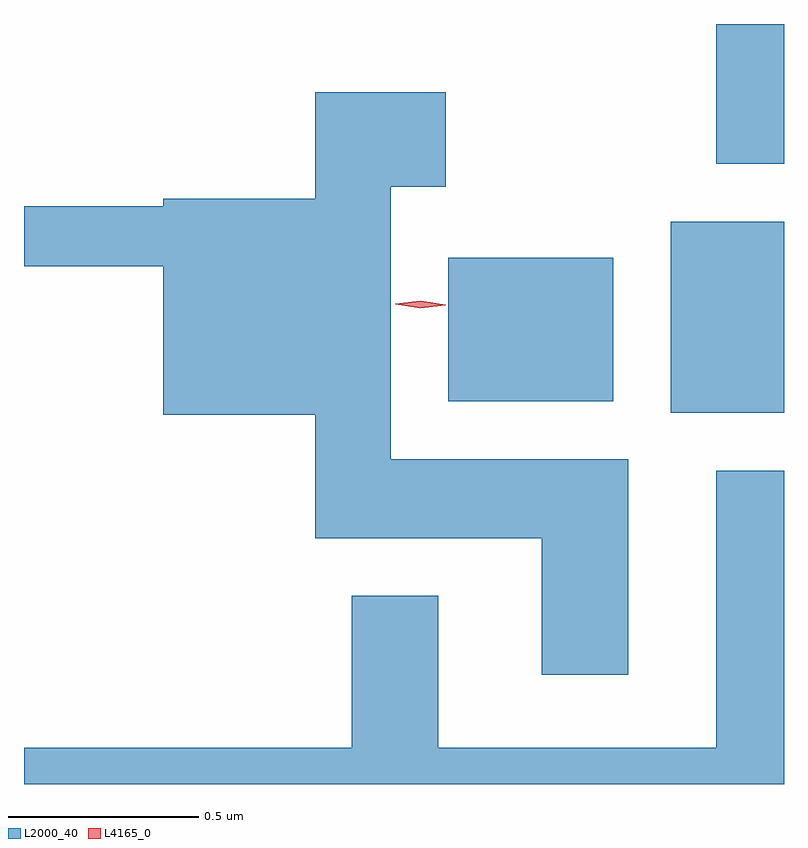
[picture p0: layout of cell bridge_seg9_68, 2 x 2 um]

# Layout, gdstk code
import gdstk
lib = gdstk.Library(unit=1e-6, precision=1e-09)
def R(c, l, rs):  # rectangles x0, y0, x1, y1
    for r in rs: c.add(gdstk.rectangle(r[:2], r[2:], *l))
def P(c, l, *ps):  # polygons
    for p in ps: c.add(gdstk.Polygon(p, *l))
L2000_40 = (2000, 40)
L4165_0 = (4165, 0)

bridge_seg9_68 = lib.new_cell('bridge_seg9_68')
R(bridge_seg9_68, L2000_40, [(1690.681,1964.106,1690.979,1964.609), (1690.096,1964.136,1690.529,1964.514), (1690.801,1964.761,1690.979,1965.129)])
P(bridge_seg9_68, L2000_40, [(1690.569,1963.984),(1689.944,1963.984),(1689.944,1964.701),(1690.089,1964.701),(1690.089,1964.949),(1689.746,1964.949),(1689.746,1964.669),(1689.346,1964.669),(1689.346,1964.649),(1688.979,1964.649),(1688.979,1964.491),(1689.346,1964.491),(1689.346,1964.101),(1689.746,1964.101),(1689.746,1963.776),(1690.341,1963.776),(1690.341,1963.416),(1690.569,1963.416)],
  [(1690.979,1963.954),(1690.801,1963.954),(1690.801,1963.224),(1690.069,1963.224),(1690.069,1963.624),(1689.841,1963.624),(1689.841,1963.224),(1688.979,1963.224),(1688.979,1963.129),(1690.979,1963.129)])
P(bridge_seg9_68, L4165_0, [(1690.022,1964.381),(1689.956,1964.392),(1689.956,1964.392),(1689.956,1964.393),(1690.023,1964.401),(1690.089,1964.39),(1690.089,1964.39),(1690.089,1964.389)])

lib.write_gds('bridge_seg9_68.gds')
